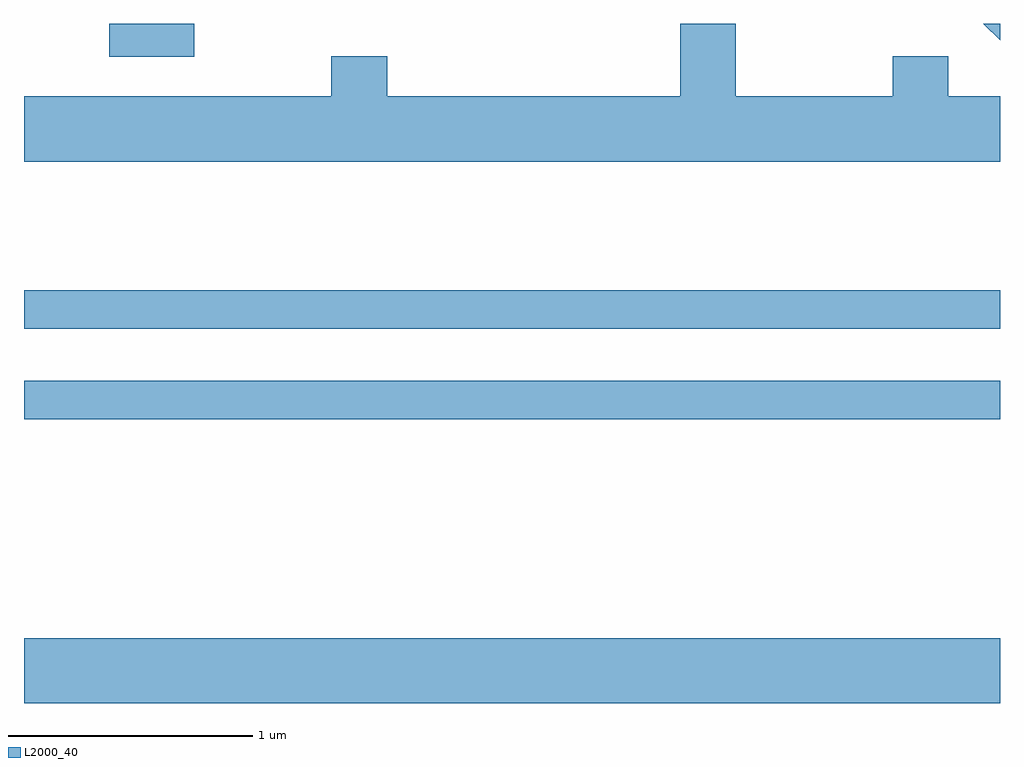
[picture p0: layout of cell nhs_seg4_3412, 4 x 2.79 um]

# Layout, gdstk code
import gdstk
lib = gdstk.Library(unit=1e-6, precision=1e-09)
def R(c, l, rs):  # rectangles x0, y0, x1, y1
    for r in rs: c.add(gdstk.rectangle(r[:2], r[2:], *l))
def P(c, l, *ps):  # polygons
    for p in ps: c.add(gdstk.Polygon(p, *l))
L2000_40 = (2000, 40)

nhs_seg4_3412 = lib.new_cell('nhs_seg4_3412')
R(nhs_seg4_3412, L2000_40, [(285.611,1279.196,289.611,1279.464), (285.611,1280.361,289.611,1280.519), (285.611,1280.731,289.611,1280.889), (285.961,1281.846,286.308,1281.982)])
P(nhs_seg4_3412, L2000_40, [(289.611,1281.684),(289.399,1281.684),(289.399,1281.849),(289.171,1281.849),(289.171,1281.684),(288.529,1281.684),(288.529,1281.982),(288.301,1281.982),(288.301,1281.684),(287.099,1281.684),(287.099,1281.849),(286.871,1281.849),(286.871,1281.684),(285.611,1281.684),(285.611,1281.416),(289.611,1281.416)],
  [(289.611,1281.982),(289.543,1281.982),(289.611,1281.914)])

lib.write_gds('nhs_seg4_3412.gds')
